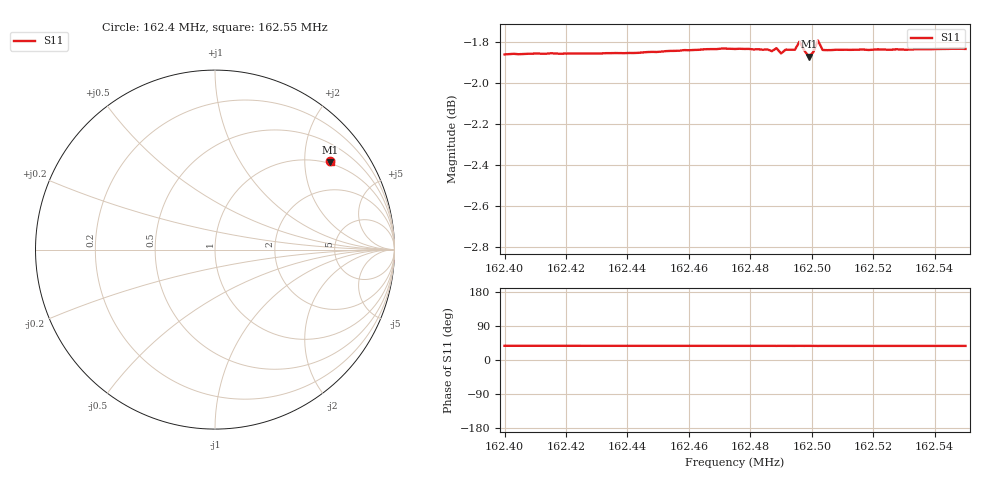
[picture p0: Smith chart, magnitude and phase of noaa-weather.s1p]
! Calibrated averaged scanner-service zoom
# Hz S RI R 50
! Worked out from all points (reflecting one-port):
!   101 points, 162.4 MHz to 162.55 MHz, reference 50 ohm
!   lowest |S11| = -1.9 dB at 162.499 MHz (marker M1), VSWR 9.31, Z = 47.6 + j133 ohm
!   phase of S11 starts at 37 deg and turns -0 deg over the sweep
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1.624e8  0.6406 0.4909
1.624105e8  0.6411 0.491
1.624195e8  0.6414 0.4905
1.6243e8  0.6414 0.4905
1.624375e8  0.6419 0.4902
1.62442e8  0.6419 0.4903
1.62457e8  0.643 0.4906
1.62466e8  0.6434 0.4912
1.624735e8  0.6436 0.4912
1.62475e8  0.6437 0.4909
1.624855e8  0.6438 0.4905
1.62487e8  0.6428 0.4905
1.624885e8  0.6447 0.4902
1.6249e8  0.6422 0.4896
1.624915e8  0.6439 0.4902
1.624945e8  0.6441 0.4898
1.62496e8  0.6459 0.4935
1.624975e8  0.6439 0.4898
1.62499e8  0.6409 0.4889
1.625005e8  0.6431 0.4893
1.62502e8  0.6489 0.4905
1.625035e8  0.6441 0.4897
1.625125e8  0.6444 0.4893
1.62529e8  0.6448 0.4891
1.62532e8  0.645 0.4888
1.625365e8  0.6449 0.489
1.62538e8  0.6451 0.4888
1.6255e8  0.6454 0.4887
